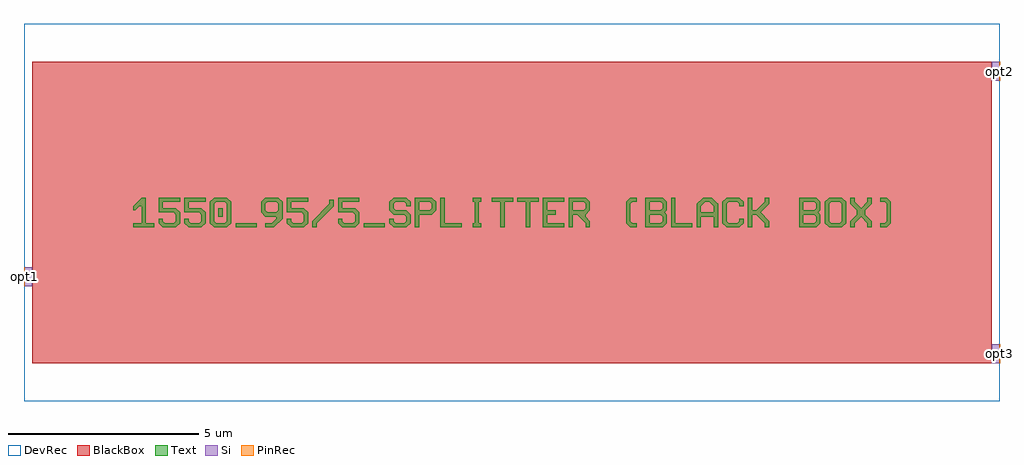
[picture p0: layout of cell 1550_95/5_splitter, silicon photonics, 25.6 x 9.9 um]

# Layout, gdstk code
import gdstk
lib = gdstk.Library(unit=1e-6, precision=1e-09)
def R(c, l, rs):  # rectangles x0, y0, x1, y1
    for r in rs: c.add(gdstk.rectangle(r[:2], r[2:], *l))
def P(c, l, *ps):  # polygons
    for p in ps: c.add(gdstk.Polygon(p, *l))
Si = (1, 0)
PinRec = (1, 10)
Text = (10, 0)
DevRec = (68, 0)
BlackBox = (998, 0)

text = lib.new_cell('TEXT')
R(text, Text, [(2.688,0,3.248,0.112), (6.048,0,6.608,0.112), (2.24,0.28,2.352,0.504)])
P(text, Text, [(0,0),(0,0.112),(0.224,0.112),(0.224,0.56),(0.168,0.56),(0.056,0.448),(0,0.448),(0,0.56),(0.224,0.783),(0.336,0.783),(0.336,0.112),(0.56,0.112),(0.56,0)],
  [(0.784,0),(0.672,0.112),(0.672,0.224),(0.784,0.224),(0.784,0.168),(0.84,0.112),(1.064,0.112),(1.12,0.168),(1.12,0.336),(1.064,0.392),(0.672,0.392),(0.672,0.783),(1.232,0.783),(1.232,0.672),(0.784,0.672),(0.784,0.504),(1.12,0.504),(1.232,0.392),(1.232,0.112),(1.12,0)],
  [(1.456,0),(1.344,0.112),(1.344,0.224),(1.456,0.224),(1.456,0.168),(1.512,0.112),(1.736,0.112),(1.792,0.168),(1.792,0.336),(1.736,0.392),(1.344,0.392),(1.344,0.783),(1.904,0.783),(1.904,0.672),(1.456,0.672),(1.456,0.504),(1.792,0.504),(1.904,0.392),(1.904,0.112),(1.792,0)],
  [(2.128,0),(2.016,0.112),(2.016,0.672),(2.128,0.783),(2.464,0.783),(2.576,0.672),(2.184,0.672),(2.128,0.616),(2.128,0.168),(2.184,0.112),(2.408,0.112),(2.464,0.168),(2.464,0.616),(2.408,0.672),(2.576,0.672),(2.576,0.112),(2.464,0)],
  [(3.472,0),(3.472,0.112),(3.64,0.112),(3.752,0.224),(3.752,0.28),(3.472,0.28),(3.36,0.392),(3.752,0.392),(3.808,0.448),(3.808,0.616),(3.752,0.672),(3.528,0.672),(3.472,0.616),(3.472,0.448),(3.528,0.392),(3.36,0.392),(3.36,0.672),(3.472,0.783),(3.808,0.783),(3.92,0.672),(3.92,0.224),(3.696,0)],
  [(4.144,0),(4.032,0.112),(4.032,0.224),(4.144,0.224),(4.144,0.168),(4.2,0.112),(4.424,0.112),(4.48,0.168),(4.48,0.336),(4.424,0.392),(4.032,0.392),(4.032,0.783),(4.592,0.783),(4.592,0.672),(4.144,0.672),(4.144,0.504),(4.48,0.504),(4.592,0.392),(4.592,0.112),(4.48,0)],
  [(4.704,0),(4.704,0.168),(5.152,0.616),(5.152,0.727),(5.264,0.727),(5.264,0.56),(4.816,0.112),(4.816,0)],
  [(5.488,0),(5.376,0.112),(5.376,0.224),(5.488,0.224),(5.488,0.168),(5.544,0.112),(5.768,0.112),(5.824,0.168),(5.824,0.336),(5.768,0.392),(5.376,0.392),(5.376,0.783),(5.936,0.783),(5.936,0.672),(5.488,0.672),(5.488,0.504),(5.824,0.504),(5.936,0.392),(5.936,0.112),(5.824,0)],
  [(6.832,0),(6.72,0.112),(6.72,0.224),(6.832,0.224),(6.832,0.168),(6.888,0.112),(7.112,0.112),(7.168,0.168),(7.168,0.28),(7.112,0.336),(6.832,0.336),(6.72,0.448),(6.72,0.672),(6.832,0.783),(7.168,0.783),(7.28,0.672),(7.28,0.56),(7.168,0.56),(7.168,0.616),(7.112,0.672),(6.888,0.672),(6.832,0.616),(6.832,0.504),(6.888,0.448),(7.168,0.448),(7.28,0.336),(7.28,0.112),(7.168,0)],
  [(7.392,0),(7.392,0.783),(7.84,0.783),(7.952,0.672),(7.952,0.448),(7.84,0.336),(7.504,0.336),(7.504,0.448),(7.784,0.448),(7.84,0.504),(7.84,0.616),(7.784,0.672),(7.504,0.672),(7.504,0)],
  [(8.064,0),(8.064,0.783),(8.176,0.783),(8.176,0.112),(8.624,0.112),(8.624,0)],
  [(8.904,0),(8.904,0.112),(8.96,0.112),(8.96,0.672),(8.904,0.672),(8.904,0.783),(9.128,0.783),(9.128,0.672),(9.072,0.672),(9.072,0.112),(9.128,0.112),(9.128,0)],
  [(9.632,0),(9.632,0.672),(9.408,0.672),(9.408,0.783),(9.968,0.783),(9.968,0.672),(9.744,0.672),(9.744,0)],
  [(10.304,0),(10.304,0.672),(10.08,0.672),(10.08,0.783),(10.64,0.783),(10.64,0.672),(10.416,0.672),(10.416,0)],
  [(10.752,0),(10.752,0.783),(11.312,0.783),(11.312,0.672),(10.864,0.672),(10.864,0.448),(11.088,0.448),(11.088,0.336),(10.864,0.336),(10.864,0.112),(11.312,0.112),(11.312,0)],
  [(11.424,0),(11.424,0.783),(11.872,0.783),(11.984,0.672),(11.536,0.672),(11.536,0.448),(11.816,0.448),(11.872,0.504),(11.872,0.616),(11.816,0.672),(11.984,0.672),(11.984,0.448),(11.872,0.336),(11.872,0.28),(11.984,0.168),(11.984,0),(11.872,0),(11.872,0.112),(11.648,0.336),(11.536,0.336),(11.536,0)],
  [(13.048,0),(12.936,0.112),(12.936,0.672),(13.048,0.783),(13.216,0.783),(13.216,0.672),(13.104,0.672),(13.048,0.616),(13.048,0.168),(13.104,0.112),(13.216,0.112),(13.216,0)],
  [(13.44,0),(13.44,0.783),(13.888,0.783),(14,0.672),(13.552,0.672),(13.552,0.448),(13.832,0.448),(13.888,0.504),(13.888,0.616),(13.832,0.672),(14,0.672),(14,0.448),(13.944,0.392),(14,0.336),(13.552,0.336),(13.552,0.112),(13.832,0.112),(13.888,0.168),(13.888,0.28),(13.832,0.336),(14,0.336),(14,0.112),(13.888,0)],
  [(14.112,0),(14.112,0.783),(14.224,0.783),(14.224,0.112),(14.672,0.112),(14.672,0)],
  [(14.784,0),(14.784,0.616),(14.952,0.783),(15.176,0.783),(15.288,0.672),(15.008,0.672),(14.896,0.56),(14.896,0.392),(15.232,0.392),(15.232,0.56),(15.12,0.672),(15.288,0.672),(15.344,0.616),(15.344,0),(15.232,0),(15.232,0.28),(14.896,0.28),(14.896,0)],
  [(15.568,0),(15.456,0.112),(15.456,0.672),(15.568,0.783),(15.904,0.783),(16.016,0.672),(16.016,0.56),(15.904,0.56),(15.904,0.616),(15.848,0.672),(15.624,0.672),(15.568,0.616),(15.568,0.168),(15.624,0.112),(15.848,0.112),(15.904,0.168),(15.904,0.224),(16.016,0.224),(16.016,0.112),(15.904,0)],
  [(16.128,0),(16.128,0.783),(16.24,0.783),(16.24,0.448),(16.352,0.448),(16.576,0.672),(16.576,0.783),(16.688,0.783),(16.688,0.616),(16.464,0.392),(16.688,0.168),(16.688,0),(16.576,0),(16.576,0.112),(16.352,0.336),(16.24,0.336),(16.24,0)],
  [(17.472,0),(17.472,0.783),(17.92,0.783),(18.032,0.672),(17.584,0.672),(17.584,0.448),(17.864,0.448),(17.92,0.504),(17.92,0.616),(17.864,0.672),(18.032,0.672),(18.032,0.448),(17.976,0.392),(18.032,0.336),(17.584,0.336),(17.584,0.112),(17.864,0.112),(17.92,0.168),(17.92,0.28),(17.864,0.336),(18.032,0.336),(18.032,0.112),(17.92,0)],
  [(18.256,0),(18.144,0.112),(18.144,0.672),(18.256,0.783),(18.592,0.783),(18.704,0.672),(18.704,0.392),(18.592,0.392),(18.592,0.616),(18.536,0.672),(18.312,0.672),(18.256,0.616),(18.256,0.168),(18.312,0.112),(18.536,0.112),(18.592,0.168),(18.592,0.392),(18.704,0.392),(18.704,0.112),(18.592,0)],
  [(18.816,0),(18.816,0.168),(18.984,0.336),(18.984,0.448),(18.816,0.616),(18.816,0.783),(18.928,0.783),(18.928,0.672),(19.096,0.504),(19.264,0.672),(19.264,0.783),(19.376,0.783),(19.376,0.616),(19.208,0.448),(19.208,0.336),(19.376,0.168),(19.376,0),(19.264,0),(19.264,0.112),(19.096,0.28),(18.928,0.112),(18.928,0)],
  [(19.6,0),(19.6,0.112),(19.712,0.112),(19.768,0.168),(19.768,0.616),(19.712,0.672),(19.6,0.672),(19.6,0.783),(19.768,0.783),(19.88,0.672),(19.88,0.112),(19.768,0)])

c_1550_95_5_splitter = lib.new_cell('1550_95/5_splitter')
R(c_1550_95_5_splitter, Si, [(22.382,-2.263,22.582,-1.763), (-3,-0.25,-2.8,0.25), (22.382,5.136,22.582,5.636)])
R(c_1550_95_5_splitter, DevRec, [(-3,-3.263,22.582,6.636)])
R(c_1550_95_5_splitter, BlackBox, [(-2.8,-2.263,22.382,5.636)])
c_1550_95_5_splitter.add(gdstk.FlexPath([(-2.99,0),(-3.01,0)], 0.5, ends="flush", simple_path=True, layer=1, datatype=10))  # PinRec
c_1550_95_5_splitter.add(gdstk.FlexPath([(22.572,5.386),(22.592,5.386)], 0.5, ends="flush", simple_path=True, layer=1, datatype=10))  # PinRec
c_1550_95_5_splitter.add(gdstk.FlexPath([(22.572,-2.013),(22.592,-2.013)], 0.5, ends="flush", simple_path=True, layer=1, datatype=10))  # PinRec
c_1550_95_5_splitter.add(gdstk.Reference(text, (-0.149,1.295)))
c_1550_95_5_splitter.add(gdstk.Label('opt1', (-3,0), layer=1, texttype=10))
c_1550_95_5_splitter.add(gdstk.Label('opt2', (22.582,5.386), layer=1, texttype=10))
c_1550_95_5_splitter.add(gdstk.Label('opt3', (22.582,-2.013), layer=1, texttype=10))
c_1550_95_5_splitter.add(gdstk.Label('95%', (22.132,-2.013), layer=10, texttype=0))
c_1550_95_5_splitter.add(gdstk.Label('5%', (22.132,5.386), layer=10, texttype=0))
c_1550_95_5_splitter.add(gdstk.Label('In', (-2.55,0), layer=10, texttype=0))

lib.write_gds('1550_95_5_splitter.gds')
